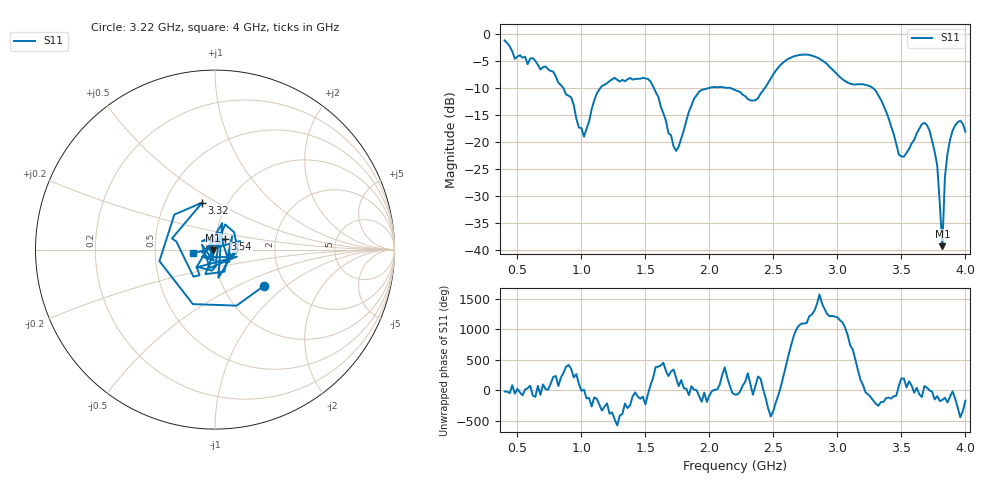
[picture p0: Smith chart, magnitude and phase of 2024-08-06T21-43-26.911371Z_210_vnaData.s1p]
!Created with skrf (http://scikit-rf.org).
# Hz S RI R 50.0
!freq ReS11 ImS11
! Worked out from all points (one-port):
!   181 points, 400 MHz to 4 GHz, reference 50 ohm
!   lowest |S11| = -39.3 dB at 3.82 GHz (marker M1), VSWR 1.02, Z = 49 - j0.354 ohm
!   |S11| at or under -10 dB: 860.2 MHz to 1.147 GHz (286.9 MHz wide, 28.6 % of centre); 1.567 GHz to 1.99 GHz (422.9 MHz wide, 23.8 % of centre); 3.28 GHz to end of sweep (the widest 3 of 4)
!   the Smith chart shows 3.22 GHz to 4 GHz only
!   S11 on the Smith chart (normalised r, x): 3.22 GHz: 1.56, -0.71; 3.32 GHz: 0.76, +0.43; 3.54 GHz: 1.11, +0.13; 4 GHz: 0.78, -0.03
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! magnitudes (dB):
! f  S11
! 400 MHz  -1.1
! 480 MHz  -4.5
! 620 MHz  -4.4
! 860 MHz  -10.0
! 1.02 GHz  -19.0
! 1.14 GHz  -10.2
! 1.3 GHz  -8.8
! 1.54 GHz  -8.7
! 1.72 GHz  -20.8
! 1.76 GHz  -20.8
! 1.92 GHz  -10.6
! 2.2 GHz  -10.3
! 2.36 GHz  -12.2
! 2.66 GHz  -4.1
! 3.1 GHz  -9.2
! 3.22 GHz  -9.4
! 3.32 GHz  -11.3
! 3.48 GHz  -22.3
! 3.54 GHz  -22.0
! 3.56 GHz  -21.3
! 3.66 GHz  -16.7
! 3.72 GHz  -17.9
! 3.78 GHz  -24.3
! 3.82 GHz  -39.3
! 3.84 GHz  -26.5
! 3.88 GHz  -19.6
! 3.96 GHz  -16.0
! 4 GHz  -18.1
